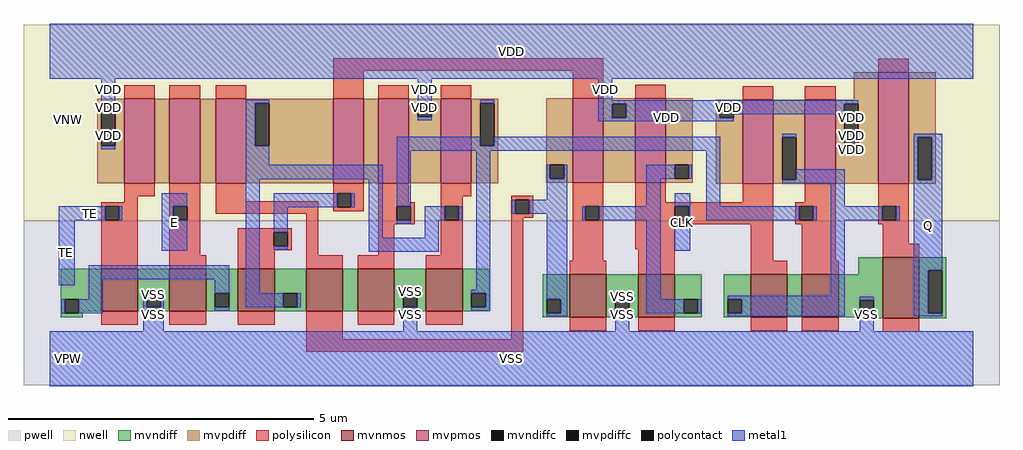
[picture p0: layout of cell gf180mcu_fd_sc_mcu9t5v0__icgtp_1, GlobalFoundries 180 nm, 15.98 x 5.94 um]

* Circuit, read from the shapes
.subckt gf180mcu_fd_sc_mcu9t5v0__icgtp_1 CLK E TE Q VDD VNW VPW VSS
XM1 VSS TE n1 VPW nfet_06v0 w=0.7u l=0.6u
XM2 n1 E VSS VPW nfet_06v0 w=0.7u l=0.6u
XM3 n2 n3 n1 VPW nfet_06v0 w=0.7u l=0.6u
XM4 n4 n5 n2 VPW nfet_06v0 w=0.7u l=0.6u
XM5 VSS n6 n4 VPW nfet_06v0 w=0.7u l=0.6u
XM6 n6 n2 VSS VPW nfet_06v0 w=0.7u l=0.6u
XM7 VSS n3 n5 VPW nfet_06v0 w=0.7u l=0.6u
XM8 n3 CLK VSS VPW nfet_06v0 w=0.7u l=0.6u
XM9 n7 CLK n8 VPW nfet_06v0 w=0.7u l=0.6u
XM10 VSS n6 n7 VPW nfet_06v0 w=0.7u l=0.6u
XM11 Q n8 VSS VPW nfet_06v0 w=1u l=0.6u
XM12 n9 TE VDD VNW pfet_06v0 w=1.38u l=0.5u
XM13 n10 E n9 VNW pfet_06v0 w=1.38u l=0.5u
XM14 n2 n5 n10 VNW pfet_06v0 w=1.38u l=0.5u
XM15 n11 n3 n2 VNW pfet_06v0 w=1.38u l=0.5u
XM16 VDD n6 n11 VNW pfet_06v0 w=1.38u l=0.5u
XM17 n6 n2 VDD VNW pfet_06v0 w=1.38u l=0.5u
XM18 VDD n3 n5 VNW pfet_06v0 w=1.38u l=0.5u
XM19 n3 CLK VDD VNW pfet_06v0 w=1.38u l=0.5u
XM20 n8 CLK VDD VNW pfet_06v0 w=1.38u l=0.5u
XM21 VDD n6 n8 VNW pfet_06v0 w=1.38u l=0.5u
XM22 Q n8 VDD VNW pfet_06v0 w=1.83u l=0.5u
.ends

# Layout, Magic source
magic
tech gf180mcuD
magscale 1 10
<< nwell >>
rect -86 453 3110 1094
<< pwell >>
rect -86 -86 3110 453
<< mvnmos >>
rect 168 156 288 296
rect 392 156 512 296
rect 616 156 736 296
rect 840 156 960 296
rect 1008 156 1128 296
rect 1232 156 1352 296
rect 1703 137 1823 277
rect 1927 137 2047 277
rect 2295 137 2415 277
rect 2463 137 2583 277
rect 2727 133 2847 333
<< mvpmos >>
rect 244 576 344 852
rect 392 576 492 852
rect 544 576 644 852
rect 928 576 1028 852
rect 1076 576 1176 852
rect 1280 576 1380 852
rect 1713 577 1813 853
rect 1917 577 2017 853
rect 2269 573 2369 849
rect 2473 573 2573 849
rect 2713 573 2813 939
<< mvndiff >>
rect 36 196 168 296
rect 36 150 49 196
rect 95 156 168 196
rect 288 215 392 296
rect 288 169 317 215
rect 363 169 392 215
rect 288 156 392 169
rect 512 215 616 296
rect 512 169 541 215
rect 587 169 616 215
rect 512 156 616 169
rect 736 215 840 296
rect 736 169 765 215
rect 811 169 840 215
rect 736 156 840 169
rect 960 156 1008 296
rect 1128 215 1232 296
rect 1128 169 1157 215
rect 1203 169 1232 215
rect 1128 156 1232 169
rect 1352 215 1440 296
rect 1352 169 1381 215
rect 1427 169 1440 215
rect 1352 156 1440 169
rect 95 150 108 156
rect 36 137 108 150
rect 2647 277 2727 333
rect 1615 196 1703 277
rect 1615 150 1628 196
rect 1674 150 1703 196
rect 1615 137 1703 150
rect 1823 196 1927 277
rect 1823 150 1852 196
rect 1898 150 1927 196
rect 1823 137 1927 150
rect 2047 196 2135 277
rect 2047 150 2076 196
rect 2122 150 2135 196
rect 2047 137 2135 150
rect 2207 196 2295 277
rect 2207 150 2220 196
rect 2266 150 2295 196
rect 2207 137 2295 150
rect 2415 137 2463 277
rect 2583 192 2727 277
rect 2583 146 2652 192
rect 2698 146 2727 192
rect 2583 137 2727 146
rect 2643 133 2727 137
rect 2847 290 2935 333
rect 2847 150 2876 290
rect 2922 150 2935 290
rect 2847 133 2935 150
<< mvpdiff >>
rect 156 838 244 852
rect 156 698 169 838
rect 215 698 244 838
rect 156 576 244 698
rect 344 576 392 852
rect 492 576 544 852
rect 644 838 928 852
rect 644 698 673 838
rect 719 698 928 838
rect 644 576 928 698
rect 1028 576 1076 852
rect 1176 839 1280 852
rect 1176 793 1205 839
rect 1251 793 1280 839
rect 1176 576 1280 793
rect 1380 838 1468 852
rect 1380 698 1409 838
rect 1455 698 1468 838
rect 1380 576 1468 698
rect 1625 636 1713 853
rect 1625 590 1638 636
rect 1684 590 1713 636
rect 1625 577 1713 590
rect 1813 836 1917 853
rect 1813 790 1842 836
rect 1888 790 1917 836
rect 1813 577 1917 790
rect 2017 636 2105 853
rect 2633 849 2713 939
rect 2017 590 2046 636
rect 2092 590 2105 636
rect 2017 577 2105 590
rect 2181 836 2269 849
rect 2181 790 2194 836
rect 2240 790 2269 836
rect 2181 573 2269 790
rect 2369 726 2473 849
rect 2369 586 2398 726
rect 2444 586 2473 726
rect 2369 573 2473 586
rect 2573 836 2713 849
rect 2573 696 2602 836
rect 2648 696 2713 836
rect 2573 573 2713 696
rect 2813 726 2901 939
rect 2813 586 2842 726
rect 2888 586 2901 726
rect 2813 573 2901 586
<< mvndiffc >>
rect 49 150 95 196
rect 317 169 363 215
rect 541 169 587 215
rect 765 169 811 215
rect 1157 169 1203 215
rect 1381 169 1427 215
rect 1628 150 1674 196
rect 1852 150 1898 196
rect 2076 150 2122 196
rect 2220 150 2266 196
rect 2652 146 2698 192
rect 2876 150 2922 290
<< mvpdiffc >>
rect 169 698 215 838
rect 673 698 719 838
rect 1205 793 1251 839
rect 1409 698 1455 838
rect 1638 590 1684 636
rect 1842 790 1888 836
rect 2046 590 2092 636
rect 2194 790 2240 836
rect 2398 586 2444 726
rect 2602 696 2648 836
rect 2842 586 2888 726
<< polysilicon >>
rect 928 944 1813 984
rect 244 852 344 896
rect 392 852 492 896
rect 544 852 644 896
rect 928 852 1028 944
rect 1076 852 1176 896
rect 1280 852 1380 896
rect 1713 853 1813 944
rect 2713 939 2813 983
rect 1917 853 2017 897
rect 2269 849 2369 893
rect 2473 849 2573 893
rect 244 532 344 576
rect 244 513 288 532
rect 168 500 288 513
rect 168 454 181 500
rect 227 454 288 500
rect 168 296 288 454
rect 392 500 492 576
rect 392 454 405 500
rect 451 454 492 500
rect 544 516 644 576
rect 928 543 1028 576
rect 544 476 880 516
rect 928 497 941 543
rect 987 497 1028 543
rect 928 484 1028 497
rect 1076 513 1176 576
rect 1280 532 1380 576
rect 1076 500 1195 513
rect 392 340 492 454
rect 616 415 792 428
rect 616 369 733 415
rect 779 369 792 415
rect 616 356 792 369
rect 392 296 512 340
rect 616 296 736 356
rect 840 340 880 476
rect 1076 454 1136 500
rect 1182 454 1195 500
rect 1076 441 1195 454
rect 1280 500 1352 532
rect 1280 454 1293 500
rect 1339 454 1352 500
rect 1076 340 1128 441
rect 1280 340 1352 454
rect 840 296 960 340
rect 1008 296 1128 340
rect 1232 296 1352 340
rect 1511 521 1583 534
rect 1511 475 1524 521
rect 1570 475 1583 521
rect 1511 462 1583 475
rect 1713 500 1813 577
rect 168 112 288 156
rect 392 112 512 156
rect 616 112 736 156
rect 840 64 960 156
rect 1008 112 1128 156
rect 1232 112 1352 156
rect 1511 64 1551 462
rect 1713 454 1754 500
rect 1800 454 1813 500
rect 1713 321 1813 454
rect 1917 513 2017 577
rect 2269 513 2369 573
rect 2473 513 2573 573
rect 1917 500 2369 513
rect 1917 454 2046 500
rect 2092 454 2369 500
rect 1917 441 2369 454
rect 2441 500 2573 513
rect 2441 454 2454 500
rect 2500 454 2573 500
rect 2441 441 2573 454
rect 2713 500 2813 573
rect 2713 454 2726 500
rect 2772 454 2813 500
rect 2713 441 2813 454
rect 1917 359 2047 441
rect 1703 277 1823 321
rect 1927 277 2047 359
rect 2295 321 2369 441
rect 2463 321 2573 441
rect 2727 377 2813 441
rect 2727 333 2847 377
rect 2295 277 2415 321
rect 2463 277 2583 321
rect 1703 93 1823 137
rect 1927 93 2047 137
rect 2295 93 2415 137
rect 2463 93 2583 137
rect 2727 89 2847 133
rect 840 24 1551 64
<< polycontact >>
rect 181 454 227 500
rect 405 454 451 500
rect 941 497 987 543
rect 733 369 779 415
rect 1136 454 1182 500
rect 1293 454 1339 500
rect 1524 475 1570 521
rect 1754 454 1800 500
rect 2046 454 2092 500
rect 2454 454 2500 500
rect 2726 454 2772 500
<< metal1 >>
rect 0 918 3024 1098
rect 169 838 215 918
rect 169 687 215 698
rect 641 838 719 849
rect 641 698 673 838
rect 1205 839 1251 918
rect 1205 782 1251 793
rect 1409 838 1455 849
rect 641 635 719 698
rect 1136 698 1409 728
rect 1796 847 1842 918
rect 1796 836 2648 847
rect 1796 790 1842 836
rect 1888 790 2194 836
rect 2240 801 2602 836
rect 1796 779 2240 790
rect 1455 698 2195 728
rect 1136 682 2195 698
rect 641 589 1090 635
rect 366 500 451 542
rect 30 454 181 500
rect 227 454 238 500
rect 366 454 405 500
rect 30 242 82 454
rect 366 354 451 454
rect 128 261 587 307
rect 128 196 174 261
rect 541 215 587 261
rect 38 150 49 196
rect 95 150 174 196
rect 306 169 317 215
rect 363 169 374 215
rect 306 90 374 169
rect 641 215 687 589
rect 733 497 941 543
rect 987 497 998 543
rect 733 415 779 497
rect 733 358 779 369
rect 1044 397 1090 589
rect 1136 500 1182 682
rect 1136 443 1182 454
rect 1228 454 1293 500
rect 1339 454 1350 500
rect 1228 397 1274 454
rect 1044 351 1274 397
rect 1396 226 1442 682
rect 1627 590 1638 636
rect 1684 590 1695 636
rect 1627 521 1695 590
rect 1513 475 1524 521
rect 1570 475 1695 521
rect 1954 590 2046 636
rect 2092 590 2103 636
rect 1954 500 2000 590
rect 1157 215 1203 226
rect 641 169 765 215
rect 811 169 822 215
rect 541 158 587 169
rect 1157 90 1203 169
rect 1381 215 1442 226
rect 1427 169 1442 215
rect 1381 158 1442 169
rect 1628 196 1695 475
rect 1743 454 1754 500
rect 1800 454 2000 500
rect 1674 150 1695 196
rect 1628 139 1695 150
rect 1852 196 1898 207
rect 1954 196 2000 454
rect 2046 500 2098 542
rect 2092 454 2098 500
rect 2149 500 2195 682
rect 2398 726 2444 737
rect 2602 685 2648 696
rect 2830 726 2922 737
rect 2444 586 2603 621
rect 2398 575 2603 586
rect 2557 500 2603 575
rect 2830 586 2842 726
rect 2888 586 2922 726
rect 2149 454 2454 500
rect 2500 454 2511 500
rect 2557 454 2726 500
rect 2772 454 2783 500
rect 2046 354 2098 454
rect 2557 207 2603 454
rect 2220 196 2603 207
rect 2830 290 2922 586
rect 1954 150 2076 196
rect 2122 150 2133 196
rect 2266 150 2603 196
rect 1852 90 1898 150
rect 2220 139 2603 150
rect 2652 192 2698 203
rect 2652 90 2698 146
rect 2830 150 2876 290
rect 2830 139 2922 150
rect 0 -90 3024 90
<< labels >>
flabel metal1 s 2046 354 2098 542 0 FreeSans 200 0 0 0 CLK
port 1 nsew clock input
flabel metal1 s 366 354 451 542 0 FreeSans 200 0 0 0 E
port 2 nsew default input
flabel metal1 s 2830 139 2922 737 0 FreeSans 200 0 0 0 Q
port 4 nsew default output
flabel metal1 s 30 454 238 500 0 FreeSans 200 0 0 0 TE
port 3 nsew default input
flabel metal1 s 0 918 3024 1098 0 FreeSans 200 0 0 0 VDD
port 5 nsew power bidirectional abutment
flabel metal1 s 1157 215 1203 226 0 FreeSans 200 0 0 0 VSS
port 8 nsew ground bidirectional abutment
flabel nwell s 10 734 110 834 0 FreeSans 400 0 0 0 VNW
port 6 nsew power bidirectional
flabel pwell s 10 -50 110 50 0 FreeSans 400 0 0 0 VPW
port 7 nsew ground bidirectional
rlabel metal1 s 30 242 82 454 1 TE
port 3 nsew default input
rlabel metal1 s 1796 847 1842 918 1 VDD
port 5 nsew power bidirectional abutment
rlabel metal1 s 1205 847 1251 918 1 VDD
port 5 nsew power bidirectional abutment
rlabel metal1 s 169 847 215 918 1 VDD
port 5 nsew power bidirectional abutment
rlabel metal1 s 1796 801 2648 847 1 VDD
port 5 nsew power bidirectional abutment
rlabel metal1 s 1205 801 1251 847 1 VDD
port 5 nsew power bidirectional abutment
rlabel metal1 s 169 801 215 847 1 VDD
port 5 nsew power bidirectional abutment
rlabel metal1 s 2602 782 2648 801 1 VDD
port 5 nsew power bidirectional abutment
rlabel metal1 s 1796 782 2240 801 1 VDD
port 5 nsew power bidirectional abutment
rlabel metal1 s 1205 782 1251 801 1 VDD
port 5 nsew power bidirectional abutment
rlabel metal1 s 169 782 215 801 1 VDD
port 5 nsew power bidirectional abutment
rlabel metal1 s 2602 779 2648 782 1 VDD
port 5 nsew power bidirectional abutment
rlabel metal1 s 1796 779 2240 782 1 VDD
port 5 nsew power bidirectional abutment
rlabel metal1 s 169 779 215 782 1 VDD
port 5 nsew power bidirectional abutment
rlabel metal1 s 2602 687 2648 779 1 VDD
port 5 nsew power bidirectional abutment
rlabel metal1 s 169 687 215 779 1 VDD
port 5 nsew power bidirectional abutment
rlabel metal1 s 2602 685 2648 687 1 VDD
port 5 nsew power bidirectional abutment
rlabel metal1 s 1157 207 1203 215 1 VSS
port 8 nsew ground bidirectional abutment
rlabel metal1 s 306 207 374 215 1 VSS
port 8 nsew ground bidirectional abutment
rlabel metal1 s 1852 203 1898 207 1 VSS
port 8 nsew ground bidirectional abutment
rlabel metal1 s 1157 203 1203 207 1 VSS
port 8 nsew ground bidirectional abutment
rlabel metal1 s 306 203 374 207 1 VSS
port 8 nsew ground bidirectional abutment
rlabel metal1 s 2652 90 2698 203 1 VSS
port 8 nsew ground bidirectional abutment
rlabel metal1 s 1852 90 1898 203 1 VSS
port 8 nsew ground bidirectional abutment
rlabel metal1 s 1157 90 1203 203 1 VSS
port 8 nsew ground bidirectional abutment
rlabel metal1 s 306 90 374 203 1 VSS
port 8 nsew ground bidirectional abutment
rlabel metal1 s 0 -90 3024 90 1 VSS
port 8 nsew ground bidirectional abutment
<< properties >>
string FIXED_BBOX 0 0 3024 1008
string GDS_END 852380
string GDS_FILE $PDKPATH/libs.ref/gf180mcu_fd_sc_mcu9t5v0/gds/gf180mcu_fd_sc_mcu9t5v0.gds
string GDS_START 845304
string LEFclass core
string LEFsite GF018hv5v_green_sc9
string LEFsymmetry X Y
<< end >>
